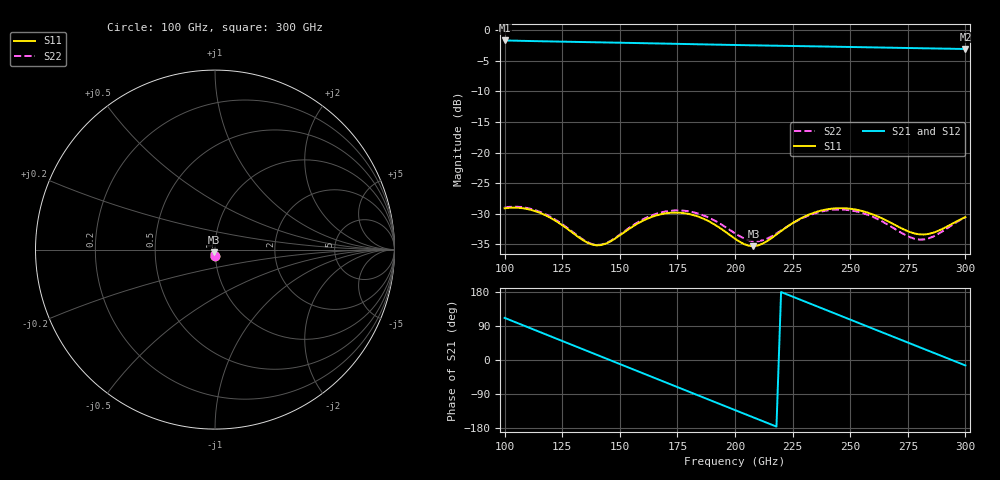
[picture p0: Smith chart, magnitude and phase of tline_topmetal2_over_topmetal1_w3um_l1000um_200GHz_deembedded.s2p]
! Created with skrf 2.2.0 (http://scikit-rf.org).
# GHz S DB R 50.0
! Port[1] = P1
! Port[2] = P2
!freq dBS11 angS11 dBS21 angS21 dBS12 angS12 dBS22 angS22
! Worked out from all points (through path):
!   101 points, 100 GHz to 300 GHz, reference 50 ohm
!   highest |S21| = -1.65 dB at 100 GHz (marker M1); lowest = -3.0 dB at 300 GHz (marker M2)
!   group delay of S21, straight-line fit = 6.74 ps
!   lowest |S11| = -35.3 dB at 208 GHz (marker M3), VSWR 1.03, Z = 49.4 - j1.59 ohm
!   |S11| at or under -10 dB: start of sweep to end of sweep
!   |S22| runs from -35.1 to -28.9 dB; largest |S21 - S12| = 9e-14
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100  -29.13 -85.9  -1.65 111.2  -1.65 111.2  -28.98 -85.7
108  -29.11 -99.8  -1.72 91.6  -1.72 91.6  -28.96 -99.7
116  -29.97 -111.9  -1.78 72.2  -1.78 72.2  -29.80 -111.8
124  -31.62 -119.7  -1.84 52.7  -1.84 52.7  -31.46 -119.8
134  -34.33 -116.8  -1.91 28.3  -1.91 28.3  -34.22 -117.0
142  -35.13 -101.5  -1.97 8.9  -1.97 8.9  -35.06 -101.1
150  -33.54 -90.2  -2.02 -10.6  -2.02 -10.6  -33.43 -89.2
158  -31.56 -91.0  -2.08 -30.1  -2.08 -30.1  -31.36 -89.8
168  -30.08 -101.2  -2.15 -54.5  -2.15 -54.5  -29.78 -99.8
176  -29.85 -111.6  -2.21 -73.9  -2.21 -73.9  -29.47 -110.3
184  -30.47 -121.5  -2.28 -93.4  -2.28 -93.4  -29.98 -120.2
200  -34.10 -125.5  -2.39 -132.2  -2.39 -132.2  -33.21 -126.4
208  -35.32 -110.1  -2.45 -151.5  -2.45 -151.5  -34.52 -114.4
220  -32.84 -92.2  -2.52 179.4  -2.52 179.4  -32.74 -97.3
234  -29.87 -99.3  -2.61 145.4  -2.61 145.4  -30.02 -102.4
244  -29.12 -110.3  -2.68 121.2  -2.68 121.2  -29.33 -112.8
252  -29.30 -119.2  -2.73 101.8  -2.73 101.8  -29.58 -121.5
260  -30.15 -126.2  -2.79 82.4  -2.79 82.4  -30.55 -128.2
268  -31.56 -128.6  -2.84 63.0  -2.84 63.0  -32.17 -130.0
284  -33.31 -111.3  -2.95 24.3  -2.95 24.3  -34.05 -107.0
292  -32.11 -102.6  -3.00 5.0  -3.00 5.0  -32.41 -96.9
300  -30.56 -102.0  -3.05 -14.3  -3.05 -14.3  -30.56 -96.7
